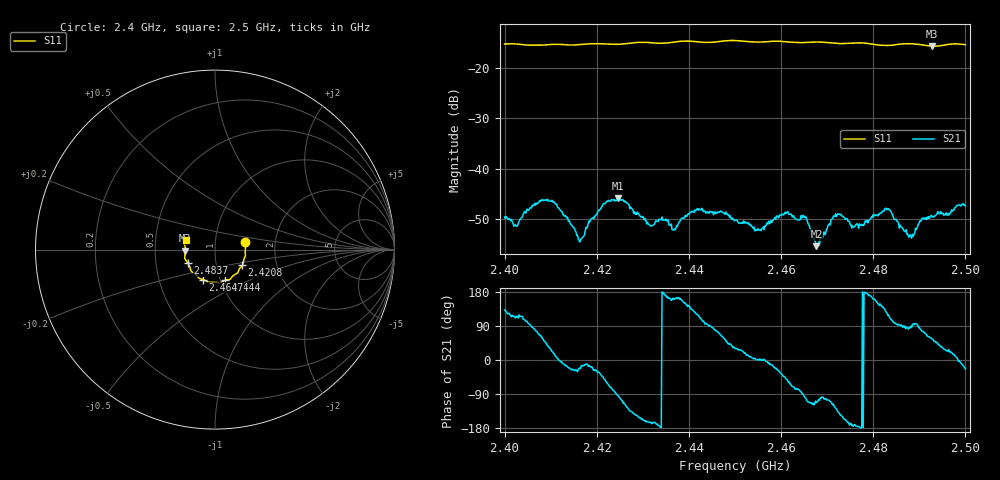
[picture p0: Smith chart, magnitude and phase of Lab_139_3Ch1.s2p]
# Hz S RI R 50
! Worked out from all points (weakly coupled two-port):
!   601 points, 2.4 GHz to 2.5 GHz, reference 50 ohm
!   highest |S21| = -45.82 dB at 2.4245 GHz (marker M1); lowest = -55.4 dB at 2.4677 GHz (marker M2)
!   lowest |S11| = -15.6 dB at 2.4928 GHz (marker M3), VSWR 1.40, Z = 35.8 - j0.383 ohm
!   |S11| at or under -10 dB: start of sweep to end of sweep
!   S12 and S22 are empty: the file has one direction only
!   S11 on the Smith chart (normalised r, x): 2.4 GHz: 1.40, +0.12; 2.4208 GHz: 1.33, -0.24; 2.444 GHz: 1.06, -0.37; 2.4647 GHz: 0.83, -0.29; 2.4837 GHz: 0.73, -0.11; 2.5 GHz: 0.72, +0.08
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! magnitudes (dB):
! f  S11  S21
! 2.4 GHz  -15.2  -49.6
! 2.4025 GHz  -15.2  -51.4
! 2.4098 GHz  -15.3  -46.5
! 2.4167 GHz  -15.3  -54.0
! 2.4208 GHz  -15.1  -48.0
! 2.4245 GHz  -15.3  -45.8
! 2.4333 GHz  -15.1  -50.5
! 2.4368 GHz  -14.8  -52.0
! 2.444 GHz  -14.9  -48.5
! 2.45 GHz  -14.5  -50.2
! 2.4552 GHz  -14.8  -52.2
! 2.461 GHz  -14.7  -49.0
! 2.4647 GHz  -14.9  -49.4
! 2.4667 GHz  -14.8  -53.0
! 2.4677 GHz  -14.8  -55.4
! 2.4718 GHz  -15.1  -49.0
! 2.4758 GHz  -15.0  -51.6
! 2.4833 GHz  -15.5  -48.1
! 2.4837 GHz  -15.5  -48.3
! 2.4882 GHz  -15.1  -53.5
! 2.4928 GHz  -15.6  -49.6
! 2.5 GHz  -15.3  -47.4
